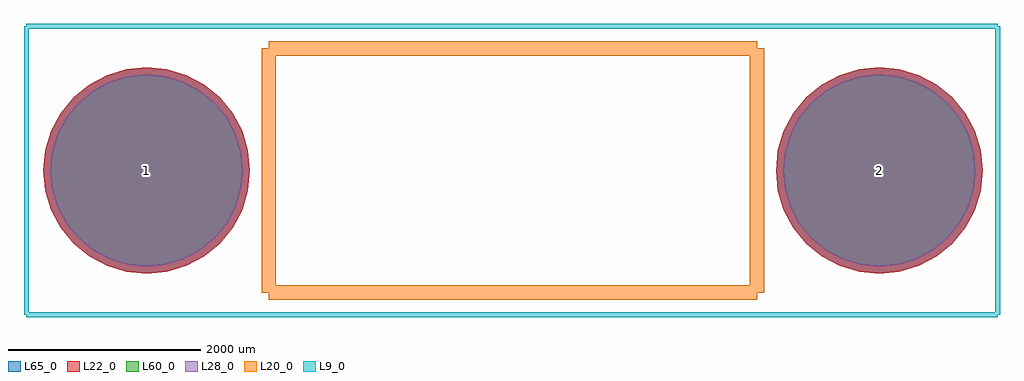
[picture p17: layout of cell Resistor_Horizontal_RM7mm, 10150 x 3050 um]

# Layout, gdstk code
import gdstk
lib = gdstk.Library(unit=1e-6, precision=1e-09)
def P(c, l, *ps):  # polygons
    for p in ps: c.add(gdstk.Polygon(p, *l))
L9_0 = (9, 0)
L20_0 = (20, 0)
L22_0 = (22, 0)
L28_0 = (28, 0)
L60_0 = (60, 0)
L65_0 = (65, 0)

resistor_horizontal_rm7m = lib.new_cell('Resistor_Horizontal_RM7mm')
P(resistor_horizontal_rm7m, L22_0, [(8694.49,0),(8673.844,209.623),(8612.699,411.19),(8513.406,596.955),(8379.779,759.779),(8216.955,893.406),(8031.19,992.699),(7829.623,1053.844),(7620,1074.49),(7410.377,1053.844),(7208.81,992.699),(7023.045,893.406),(6860.221,759.779),(6726.594,596.955),(6627.301,411.19),(6566.156,209.623),(6545.51,0),(6566.156,-209.623),(6627.301,-411.19),(6726.594,-596.955),(6860.221,-759.779),(7023.045,-893.406),(7208.81,-992.699),(7410.377,-1053.844),(7620,-1074.49),(7829.623,-1053.844),(8031.19,-992.699),(8216.955,-893.406),(8379.779,-759.779),(8513.406,-596.955),(8612.699,-411.19),(8673.844,-209.623)],
  [(1074.49,0),(1053.844,209.623),(992.699,411.19),(893.406,596.955),(759.779,759.779),(596.955,893.406),(411.19,992.699),(209.623,1053.844),(0,1074.49),(-209.623,1053.844),(-411.19,992.699),(-596.955,893.406),(-759.779,759.779),(-893.406,596.955),(-992.699,411.19),(-1053.844,209.623),(-1074.49,0),(-1053.844,-209.623),(-992.699,-411.19),(-893.406,-596.955),(-759.779,-759.779),(-596.955,-893.406),(-411.19,-992.699),(-209.623,-1053.844),(0,-1074.49),(209.623,-1053.844),(411.19,-992.699),(596.955,-893.406),(759.779,-759.779),(893.406,-596.955),(992.699,-411.19),(1053.844,-209.623)])
P(resistor_horizontal_rm7m, L28_0, [(8619.49,0),(8600.285,194.991),(8543.408,382.488),(8451.046,555.287),(8326.746,706.746),(8175.287,831.046),(8002.488,923.408),(7814.991,980.285),(7620,999.49),(7425.009,980.285),(7237.512,923.408),(7064.713,831.046),(6913.254,706.746),(6788.954,555.287),(6696.592,382.488),(6639.715,194.991),(6620.51,0),(6639.715,-194.991),(6696.592,-382.488),(6788.954,-555.287),(6913.254,-706.746),(7064.713,-831.046),(7237.512,-923.408),(7425.009,-980.285),(7620,-999.49),(7814.991,-980.285),(8002.488,-923.408),(8175.287,-831.046),(8326.746,-706.746),(8451.046,-555.287),(8543.408,-382.488),(8600.285,-194.991)],
  [(999.49,0),(980.285,194.991),(923.408,382.488),(831.046,555.287),(706.746,706.746),(555.287,831.046),(382.488,923.408),(194.991,980.285),(0,999.49),(-194.991,980.285),(-382.488,923.408),(-555.287,831.046),(-706.746,706.746),(-831.046,555.287),(-923.408,382.488),(-980.285,194.991),(-999.49,0),(-980.285,-194.991),(-923.408,-382.488),(-831.046,-555.287),(-706.746,-706.746),(-555.287,-831.046),(-382.488,-923.408),(-194.991,-980.285),(0,-999.49),(194.991,-980.285),(382.488,-923.408),(555.287,-831.046),(706.746,-706.746),(831.046,-555.287),(923.408,-382.488),(980.285,-194.991)])
P(resistor_horizontal_rm7m, L60_0, [(8619.49,0),(8600.285,194.991),(8543.408,382.488),(8451.046,555.287),(8326.746,706.746),(8175.287,831.046),(8002.488,923.408),(7814.991,980.285),(7620,999.49),(7425.009,980.285),(7237.512,923.408),(7064.713,831.046),(6913.254,706.746),(6788.954,555.287),(6696.592,382.488),(6639.715,194.991),(6620.51,0),(6639.715,-194.991),(6696.592,-382.488),(6788.954,-555.287),(6913.254,-706.746),(7064.713,-831.046),(7237.512,-923.408),(7425.009,-980.285),(7620,-999.49),(7814.991,-980.285),(8002.488,-923.408),(8175.287,-831.046),(8326.746,-706.746),(8451.046,-555.287),(8543.408,-382.488),(8600.285,-194.991)],
  [(999.49,0),(980.285,194.991),(923.408,382.488),(831.046,555.287),(706.746,706.746),(555.287,831.046),(382.488,923.408),(194.991,980.285),(0,999.49),(-194.991,980.285),(-382.488,923.408),(-555.287,831.046),(-706.746,706.746),(-831.046,555.287),(-923.408,382.488),(-980.285,194.991),(-999.49,0),(-980.285,-194.991),(-923.408,-382.488),(-831.046,-555.287),(-706.746,-706.746),(-555.287,-831.046),(-382.488,-923.408),(-194.991,-980.285),(0,-999.49),(194.991,-980.285),(382.488,-923.408),(555.287,-831.046),(706.746,-706.746),(831.046,-555.287),(923.408,-382.488),(980.285,-194.991)])
P(resistor_horizontal_rm7m, L65_0, [(8694.49,0),(8673.844,209.623),(8612.699,411.19),(8513.406,596.955),(8379.779,759.779),(8216.955,893.406),(8031.19,992.699),(7829.623,1053.844),(7620,1074.49),(7410.377,1053.844),(7208.81,992.699),(7023.045,893.406),(6860.221,759.779),(6726.594,596.955),(6627.301,411.19),(6566.156,209.623),(6545.51,0),(6566.156,-209.623),(6627.301,-411.19),(6726.594,-596.955),(6860.221,-759.779),(7023.045,-893.406),(7208.81,-992.699),(7410.377,-1053.844),(7620,-1074.49),(7829.623,-1053.844),(8031.19,-992.699),(8216.955,-893.406),(8379.779,-759.779),(8513.406,-596.955),(8612.699,-411.19),(8673.844,-209.623)],
  [(1074.49,0),(1053.844,209.623),(992.699,411.19),(893.406,596.955),(759.779,759.779),(596.955,893.406),(411.19,992.699),(209.623,1053.844),(0,1074.49),(-209.623,1053.844),(-411.19,992.699),(-596.955,893.406),(-759.779,759.779),(-893.406,596.955),(-992.699,411.19),(-1053.844,209.623),(-1074.49,0),(-1053.844,-209.623),(-992.699,-411.19),(-893.406,-596.955),(-759.779,-759.779),(-596.955,-893.406),(-411.19,-992.699),(-209.623,-1053.844),(0,-1074.49),(209.623,-1053.844),(411.19,-992.699),(596.955,-893.406),(759.779,-759.779),(893.406,-596.955),(992.699,-411.19),(1053.844,-209.623)])
resistor_horizontal_rm7m.add(gdstk.FlexPath([(1270,-1270),(1270,1270)], 149.998, ends="flush", simple_path=True, layer=20, datatype=0))  # L20_0
resistor_horizontal_rm7m.add(gdstk.FlexPath([(6350,-1270),(1270,-1270)], 149.998, ends="flush", simple_path=True, layer=20, datatype=0))  # L20_0
resistor_horizontal_rm7m.add(gdstk.FlexPath([(6350,1270),(6350,-1270)], 149.998, ends="flush", simple_path=True, layer=20, datatype=0))  # L20_0
resistor_horizontal_rm7m.add(gdstk.FlexPath([(1270,1270),(6350,1270)], 149.998, ends="flush", simple_path=True, layer=20, datatype=0))  # L20_0
resistor_horizontal_rm7m.add(gdstk.FlexPath([(-1250,-1500),(8850,-1500)], 50, ends="flush", simple_path=True, layer=9, datatype=0))  # L9_0
resistor_horizontal_rm7m.add(gdstk.FlexPath([(8850,1500),(8850,-1500)], 50, ends="flush", simple_path=True, layer=9, datatype=0))  # L9_0
resistor_horizontal_rm7m.add(gdstk.FlexPath([(-1250,-1500),(-1250,1500)], 50, ends="flush", simple_path=True, layer=9, datatype=0))  # L9_0
resistor_horizontal_rm7m.add(gdstk.FlexPath([(-1250,1500),(8850,1500)], 50, ends="flush", simple_path=True, layer=9, datatype=0))  # L9_0
resistor_horizontal_rm7m.add(gdstk.Label('2', (7620,0), layer=28, texttype=0))
resistor_horizontal_rm7m.add(gdstk.Label('1', (0,0), layer=28, texttype=0))
resistor_horizontal_rm7m.add(gdstk.Label('type', (3810,-3810), layer=9, texttype=0))
resistor_horizontal_rm7m.add(gdstk.Label('devicename', (4058.92,3500.12), layer=9, texttype=0))

lib.write_gds('Resistor_Horizontal_RM7mm.gds')
